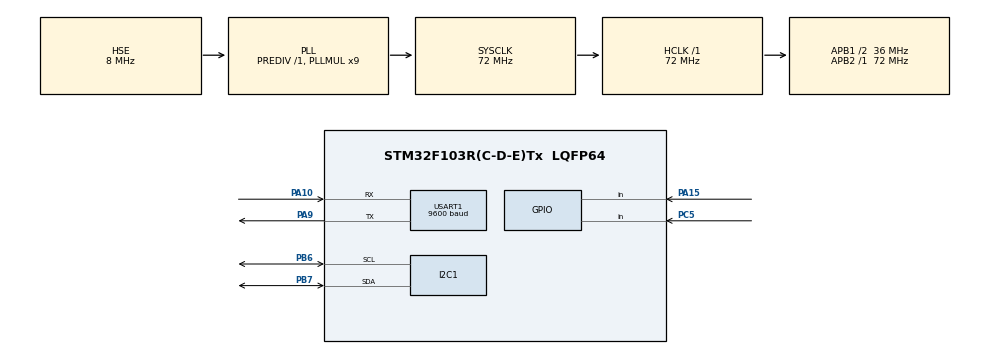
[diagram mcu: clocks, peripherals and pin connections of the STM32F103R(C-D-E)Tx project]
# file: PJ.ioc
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Mcu.Family=STM32F1
Mcu.Name=STM32F103R(C-D-E)Tx
Mcu.Package=LQFP64
NVIC.PriorityGroup=NVIC_PRIORITYGROUP_4
NVIC.USART1_IRQn=true\:0\:0\:false\:false\:true\:true\:true
PA10.Mode=Asynchronous
PA10.Signal=USART1_RX
PA13.Mode=Serial_Wire
PA13.Signal=SYS_JTMS-SWDIO
PA14.Mode=Serial_Wire
PA14.Signal=SYS_JTCK-SWCLK
PA15.GPIO_PuPd=GPIO_PULLUP
PA15.Signal=GPIO_Input
PA9.Mode=Asynchronous
PA9.Signal=USART1_TX
PB6.Mode=I2C
PB6.Signal=I2C1_SCL
PB7.Mode=I2C
PB7.Signal=I2C1_SDA
PC5.GPIO_PuPd=GPIO_PULLUP
PC5.Signal=GPIO_Input
PD0-OSC_IN.Mode=HSE-External-Oscillator
PD0-OSC_IN.Signal=RCC_OSC_IN
PD1-OSC_OUT.Mode=HSE-External-Oscillator
PD1-OSC_OUT.Signal=RCC_OSC_OUT
ProjectManager.HeapSize=0x200
ProjectManager.StackSize=0x400
ProjectManager.TargetToolchain=MDK-ARM V5.27
RCC.AHBFreq_Value=72000000
RCC.APB1CLKDivider=RCC_HCLK_DIV2
RCC.APB1Freq_Value=36000000
RCC.APB1TimFreq_Value=72000000
RCC.APB2Freq_Value=72000000
RCC.APB2TimFreq_Value=72000000
RCC.HCLKFreq_Value=72000000
RCC.PLLMUL=RCC_PLL_MUL9
RCC.PLLSourceVirtual=RCC_PLLSOURCE_HSE
RCC.SYSCLKFreq_VALUE=72000000
RCC.SYSCLKSource=RCC_SYSCLKSOURCE_PLLCLK
RCC.USBFreq_Value=72000000
USART1.BaudRate=9600
USART1.VirtualMode=VM_ASYNC
board=custom

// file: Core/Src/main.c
/* USER CODE BEGIN Header */
/**
  ******************************************************************************
  * @file           : main.c
  * @brief          : Main program body
  ******************************************************************************
  * @attention
  *
  * <h2><center>&copy; Copyright (c) 2021 STMicroelectronics.
  * All rights reserved.</center></h2>
  *
  * This software component is licensed by ST under BSD 3-Clause license,
  * the "License"; You may not use this file except in compliance with the
  * License. You may obtain a copy of the License at:
  *                        opensource.org/licenses/BSD-3-Clause
  *
  ******************************************************************************
  */
/* USER CODE END Header */
#include "main.h"
#include "i2c.h"
#include "usart.h"
#include "gpio.h"

/* USER CODE BEGIN Includes */
#include "string.h"
#include "oled.h"
/* USER CODE END Includes */

/* USER CODE BEGIN PM */
#define u8 uint8_t
/* USER CODE END PM */

/* USER CODE BEGIN PV */
uint8_t func_index = 0;
char Tx,Rx;
int Flag1 = 0;
typedef struct
{
	u8 current;//��ǰ״̬������
	u8 down;//���·�������
	u8 enter;//ȷ��������
	void (*current_operation)(void);//����ָ��
}key_table;
key_table code_table[6]=
{
	{0,1,2,(*fun1)},
	{1,0,4,(*fun2)},
	{2,3,2,(*fun3)},
	{3,2,0,(*fun4)},
	{4,5,4,(*fun5)},
	{5,4,0,(*fun6)},
};
void (*current_operation_index)(void);

/* USER CODE END PV */

void SystemClock_Config(void);

int main(void)
{

  /* MCU Configuration--------------------------------------------------------*/

  /* Reset of all peripherals, Initializes the Flash interface and the Systick. */
  HAL_Init();

  /* Configure the system clock */
  SystemClock_Config();

  /* Initialize all configured peripherals */
  MX_GPIO_Init();
  MX_I2C1_Init();
  MX_USART1_UART_Init();
  /* USER CODE BEGIN 2 */
	OLED_Init();
	OLED_Display_On();
	OLED_Clear();
	OLED_DrawBMP(0,0,128,8,0);
	HAL_Delay(1000);
	OLED_Clear();
	//HAL_UART_Transmit_IT(&huart1,(uint8_t*)&Tx,1);
	HAL_UART_Receive_IT(&huart1,(uint8_t*)&Rx,1);
  /* USER CODE END 2 */

  /* Infinite loop */
  while (1)
  {

    /* USER CODE BEGIN 3 */
		if(Rx == 'm')
		{
			fun1();
			Flag1 = 1;
		}
		else if(Rx == 'n')
		{
			fun3();
			Flag1 = 1;
		}
		else if(Rx == 'k')
		{
			fun5();
			Flag1 = 1;
		}
		else
		{
			Flag1 = 0;
		}
		if(Flag1 == 0)
		{
			KeyCol();
			current_operation_index = code_table[func_index].current_operation;
			(*current_operation_index)();
		}
  }
  /* USER CODE END 3 */
}

void SystemClock_Config(void)
{
  RCC_OscInitTypeDef RCC_OscInitStruct = {0};
  RCC_ClkInitTypeDef RCC_ClkInitStruct = {0};

  /** Initializes the RCC Oscillators according to the specified parameters
  * in the RCC_OscInitTypeDef structure.
  */
  RCC_OscInitStruct.OscillatorType = RCC_OSCILLATORTYPE_HSE;
  RCC_OscInitStruct.HSEState = RCC_HSE_ON;
  RCC_OscInitStruct.HSEPredivValue = RCC_HSE_PREDIV_DIV1;
  RCC_OscInitStruct.HSIState = RCC_HSI_ON;
  RCC_OscInitStruct.PLL.PLLState = RCC_PLL_ON;
  RCC_OscInitStruct.PLL.PLLSource = RCC_PLLSOURCE_HSE;
  RCC_OscInitStruct.PLL.PLLMUL = RCC_PLL_MUL9;
  if (HAL_RCC_OscConfig(&RCC_OscInitStruct) != HAL_OK)
  {
    Error_Handler();
  }
  /** Initializes the CPU, AHB and APB buses clocks
  */
  RCC_ClkInitStruct.ClockType = RCC_CLOCKTYPE_HCLK|RCC_CLOCKTYPE_SYSCLK
                              |RCC_CLOCKTYPE_PCLK1|RCC_CLOCKTYPE_PCLK2;
  RCC_ClkInitStruct.SYSCLKSource = RCC_SYSCLKSOURCE_PLLCLK;
  RCC_ClkInitStruct.AHBCLKDivider = RCC_SYSCLK_DIV1;
  RCC_ClkInitStruct.APB1CLKDivider = RCC_HCLK_DIV2;
  RCC_ClkInitStruct.APB2CLKDivider = RCC_HCLK_DIV1;

  if (HAL_RCC_ClockConfig(&RCC_ClkInitStruct, FLASH_LATENCY_2) != HAL_OK)
  {
    Error_Handler();
  }
}

/* USER CODE BEGIN 4 */
void KeyCol(void)
{
	if(HAL_GPIO_ReadPin(GPIOC,GPIO_PIN_5)==RESET)
		{
			func_index = code_table[func_index].down;
			OLED_Clear();
		}
		if(HAL_GPIO_ReadPin(GPIOA,GPIO_PIN_15)==RESET)
		{
	    func_index = code_table[func_index].enter;
			OLED_Clear();
		}
}
void HAL_UART_RxCpltCallback(UART_HandleTypeDef *huart)
{
	if(huart ->Instance == USART1)
	{
		//HAL_UART_Transmit_IT(&huart1,(uint8_t*)&Tx,1);
		HAL_UART_Receive_IT(&huart1,(uint8_t*)&Rx,1);
	}
}
/* USER CODE END 4 */

void Error_Handler(void)
{
  __disable_irq();
  while (1)
  {
  }
}

/************************ (C) COPYRIGHT STMicroelectronics *****END OF FILE****/
